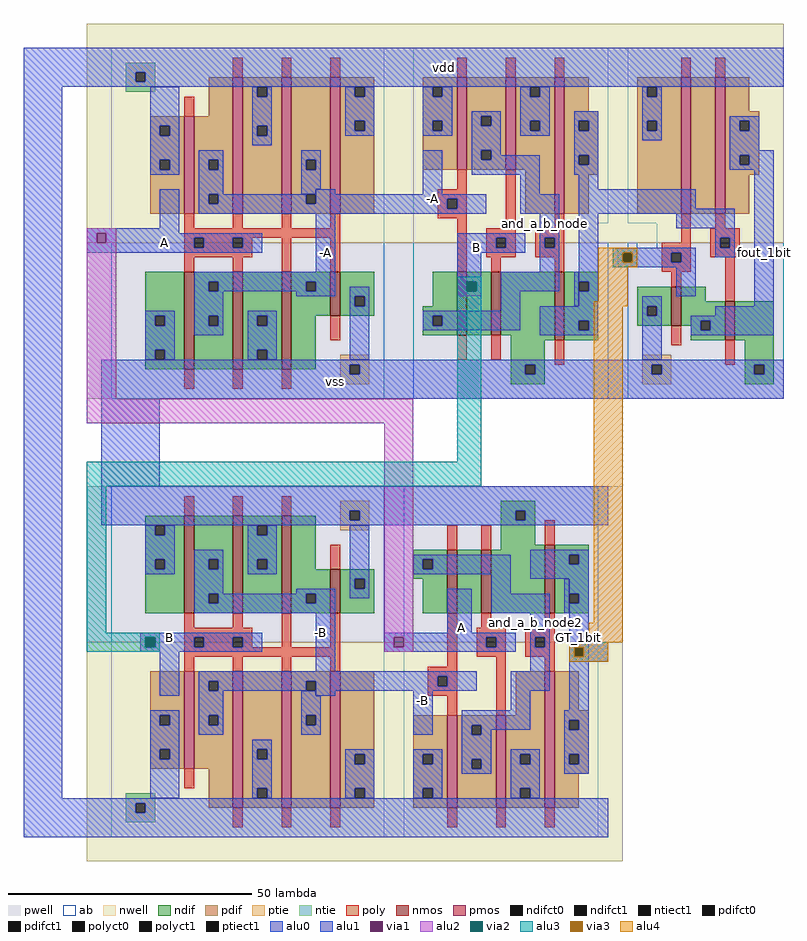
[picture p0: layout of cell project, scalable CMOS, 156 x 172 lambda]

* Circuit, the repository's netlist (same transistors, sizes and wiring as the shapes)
* SPICE3 file created from project.ext - technology: scmos

.model pmos pmos level=3
.model nmos nmos level=3
.option scale=0.055u

M1000 vdd B -B vdd pmos w=28 l=2
+  ad=2050 pd=714 as=424 ps=144
M1001 -A A vdd vdd pmos w=28 l=2
+  ad=424 pd=144 as=0 ps=0
M1002 LT_1bit and_a_b_node vss vss nmos w=14 l=2
+  ad=98 pd=42 as=1370 ps=504
M1003 -A A vss vss nmos w=20 l=2
+  ad=287 pd=112 as=0 ps=0
M1004 vss A -A vss nmos w=9 l=2
+  ad=0 pd=0 as=0 ps=0
M1005 GT_1bit and_a_b_node2 vss vss nmos w=14 l=2
+  ad=98 pd=42 as=0 ps=0
M1006 GT_1bit and_a_b_node2 vdd vdd pmos w=28 l=2
+  ad=166 pd=70 as=0 ps=0
M1007 vdd A -A vdd pmos w=28 l=2
+  ad=0 pd=0 as=0 ps=0
M1008 -B B vdd vdd pmos w=20 l=2
+  ad=0 pd=0 as=0 ps=0
M1009 vdd A and_a_b_node2 vdd pmos w=19 l=2
+  ad=0 pd=0 as=152 ps=54
M1010 vss A -A vss nmos w=20 l=2
+  ad=0 pd=0 as=0 ps=0
M1011 a_15_n21# -B and_a_b_node2 vss nmos w=13 l=2
+  ad=65 pd=36 as=77 ps=40
M1012 vss A a_15_n21# vss nmos w=13 l=2
+  ad=0 pd=0 as=0 ps=0
M1013 and_a_b_node -A vdd vdd pmos w=19 l=2
+  ad=152 pd=54 as=0 ps=0
M1014 -B B vss vss nmos w=20 l=2
+  ad=287 pd=112 as=0 ps=0
M1015 and_a_b_node2 -B vdd vdd pmos w=19 l=2
+  ad=0 pd=0 as=0 ps=0
M1016 a_17_36# -A and_a_b_node vss nmos w=13 l=2
+  ad=65 pd=36 as=77 ps=40
M1017 -A A vdd vdd pmos w=20 l=2
+  ad=0 pd=0 as=0 ps=0
M1018 vss LT_1bit fout_1bit vss nmos w=8 l=2
+  ad=0 pd=0 as=81 ps=40
M1019 vss B -B vss nmos w=20 l=2
+  ad=0 pd=0 as=0 ps=0
M1020 vss B a_17_36# vss nmos w=13 l=2
+  ad=0 pd=0 as=0 ps=0
M1021 fout_1bit GT_1bit vss vss nmos w=8 l=2
+  ad=0 pd=0 as=0 ps=0
M1022 -A A vss vss nmos w=20 l=2
+  ad=0 pd=0 as=0 ps=0
M1023 vdd B -B vdd pmos w=28 l=2
+  ad=0 pd=0 as=0 ps=0
M1024 vdd A -A vdd pmos w=28 l=2
+  ad=0 pd=0 as=0 ps=0
M1025 -B B vss vss nmos w=20 l=2
+  ad=0 pd=0 as=0 ps=0
M1026 vdd B and_a_b_node vdd pmos w=19 l=2
+  ad=0 pd=0 as=0 ps=0
M1027 a_63_61# GT_1bit vdd vdd pmos w=28 l=2
+  ad=140 pd=66 as=0 ps=0
M1028 LT_1bit and_a_b_node vdd vdd pmos w=28 l=2
+  ad=166 pd=70 as=0 ps=0
M1029 fout_1bit LT_1bit a_63_61# vdd pmos w=28 l=2
+  ad=166 pd=70 as=0 ps=0
M1030 vss B -B vss nmos w=9 l=2
+  ad=0 pd=0 as=0 ps=0
M1031 -B B vdd vdd pmos w=28 l=2
+  ad=0 pd=0 as=0 ps=0

V_DD vdd vss 5
V_A A vss pulse(0 5 0.1n 0.1n 0.1n 2n 4n )
V_B B vss pulse(0 5 0.1n 0.1n 0.1n 4n 8n)

.control
tran 1n 16n
run
setplot tran1
plot A B fout_1bit+10 LT_1bit+20 GT_1bit+30
.endc
.end

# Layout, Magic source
magic
tech scmos
<< ab >>
rect -56 23 0 95
rect 6 59 46 95
rect 50 59 82 95
rect 6 55 44 59
rect 6 23 46 55
rect 50 54 52 55
rect 56 54 82 59
rect 50 23 82 54
rect -56 -67 0 5
rect 4 -67 44 5
<< nwell >>
rect -61 55 82 100
rect -61 -72 49 -27
<< pwell >>
rect -61 23 82 55
rect -61 -27 49 5
<< poly >>
rect -31 89 -29 93
rect -21 89 -19 93
rect -11 89 -9 93
rect 15 89 17 93
rect 25 89 27 93
rect 35 89 37 93
rect 61 89 63 93
rect 68 89 70 93
rect -41 81 -39 85
rect 15 66 17 70
rect 11 64 17 66
rect 11 62 13 64
rect 15 62 17 64
rect -41 58 -39 61
rect -31 58 -29 61
rect -21 58 -19 61
rect -11 58 -9 61
rect 11 60 17 62
rect -41 56 -9 58
rect -41 54 -39 56
rect -37 54 -31 56
rect -29 54 -27 56
rect -41 52 -27 54
rect -41 49 -39 52
rect -31 49 -29 52
rect -21 49 -19 56
rect -11 49 -9 56
rect 15 49 17 60
rect 25 58 27 70
rect 35 58 37 61
rect 21 56 27 58
rect 21 54 23 56
rect 25 54 27 56
rect 21 52 27 54
rect 31 56 37 58
rect 31 54 33 56
rect 35 54 37 56
rect 61 55 63 61
rect 68 58 70 61
rect 31 52 37 54
rect 22 49 24 52
rect 35 49 37 52
rect 57 53 63 55
rect 57 51 59 53
rect 61 51 63 53
rect 67 56 73 58
rect 67 54 69 56
rect 71 54 73 56
rect 67 52 73 54
rect 57 49 63 51
rect -11 35 -9 40
rect 15 31 17 36
rect 22 31 24 36
rect 59 46 61 49
rect 70 43 72 52
rect -41 25 -39 29
rect -31 25 -29 29
rect -21 25 -19 29
rect 35 30 37 35
rect 59 34 61 38
rect 70 30 72 35
rect -41 -1 -39 3
rect -31 -1 -29 3
rect -21 -1 -19 3
rect -11 -12 -9 -7
rect 13 -8 15 -3
rect 20 -8 22 -3
rect 33 -7 35 -2
rect -41 -24 -39 -21
rect -31 -24 -29 -21
rect -41 -26 -27 -24
rect -41 -28 -39 -26
rect -37 -28 -31 -26
rect -29 -28 -27 -26
rect -21 -28 -19 -21
rect -11 -28 -9 -21
rect -41 -30 -9 -28
rect -41 -33 -39 -30
rect -31 -33 -29 -30
rect -21 -33 -19 -30
rect -11 -33 -9 -30
rect 13 -32 15 -21
rect 20 -24 22 -21
rect 33 -24 35 -21
rect 19 -26 25 -24
rect 19 -28 21 -26
rect 23 -28 25 -26
rect 19 -30 25 -28
rect 29 -26 35 -24
rect 29 -28 31 -26
rect 33 -28 35 -26
rect 29 -30 35 -28
rect -41 -57 -39 -53
rect 9 -34 15 -32
rect 9 -36 11 -34
rect 13 -36 15 -34
rect 9 -38 15 -36
rect 13 -42 15 -38
rect 23 -42 25 -30
rect 33 -33 35 -30
rect -31 -65 -29 -61
rect -21 -65 -19 -61
rect -11 -65 -9 -61
rect 13 -65 15 -61
rect 23 -65 25 -61
rect 33 -65 35 -61
<< ndif >>
rect -49 40 -41 49
rect -49 38 -47 40
rect -45 38 -41 40
rect -49 33 -41 38
rect -49 31 -47 33
rect -45 31 -41 33
rect -49 29 -41 31
rect -39 47 -31 49
rect -39 45 -36 47
rect -34 45 -31 47
rect -39 40 -31 45
rect -39 38 -36 40
rect -34 38 -31 40
rect -39 29 -31 38
rect -29 40 -21 49
rect -29 38 -26 40
rect -24 38 -21 40
rect -29 33 -21 38
rect -29 31 -26 33
rect -24 31 -21 33
rect -29 29 -21 31
rect -19 47 -11 49
rect -19 45 -16 47
rect -14 45 -11 47
rect -19 40 -11 45
rect -9 44 -2 49
rect -9 42 -6 44
rect -4 42 -2 44
rect 10 42 15 49
rect -9 40 -2 42
rect 8 40 15 42
rect -19 29 -14 40
rect 8 38 10 40
rect 12 38 15 40
rect 8 36 15 38
rect 17 36 22 49
rect 24 36 35 49
rect 26 35 35 36
rect 37 47 44 49
rect 37 45 40 47
rect 42 45 44 47
rect 37 39 44 45
rect 37 37 40 39
rect 42 37 44 39
rect 52 42 59 46
rect 52 40 54 42
rect 56 40 59 42
rect 52 38 59 40
rect 61 43 66 46
rect 61 39 70 43
rect 61 38 65 39
rect 37 35 44 37
rect 26 30 33 35
rect 63 37 65 38
rect 67 37 70 39
rect 63 35 70 37
rect 72 35 80 43
rect 74 30 80 35
rect 26 28 29 30
rect 31 28 33 30
rect 26 26 33 28
rect 74 28 76 30
rect 78 28 80 30
rect 74 26 80 28
rect -49 -3 -41 -1
rect -49 -5 -47 -3
rect -45 -5 -41 -3
rect -49 -10 -41 -5
rect -49 -12 -47 -10
rect -45 -12 -41 -10
rect -49 -21 -41 -12
rect -39 -10 -31 -1
rect -39 -12 -36 -10
rect -34 -12 -31 -10
rect -39 -17 -31 -12
rect -39 -19 -36 -17
rect -34 -19 -31 -17
rect -39 -21 -31 -19
rect -29 -3 -21 -1
rect -29 -5 -26 -3
rect -24 -5 -21 -3
rect -29 -10 -21 -5
rect -29 -12 -26 -10
rect -24 -12 -21 -10
rect -29 -21 -21 -12
rect -19 -12 -14 -1
rect 24 0 31 2
rect 24 -2 27 0
rect 29 -2 31 0
rect 24 -7 31 -2
rect 24 -8 33 -7
rect 6 -10 13 -8
rect 6 -12 8 -10
rect 10 -12 13 -10
rect -19 -17 -11 -12
rect -19 -19 -16 -17
rect -14 -19 -11 -17
rect -19 -21 -11 -19
rect -9 -14 -2 -12
rect 6 -14 13 -12
rect -9 -16 -6 -14
rect -4 -16 -2 -14
rect -9 -21 -2 -16
rect 8 -21 13 -14
rect 15 -21 20 -8
rect 22 -21 33 -8
rect 35 -9 42 -7
rect 35 -11 38 -9
rect 40 -11 42 -9
rect 35 -17 42 -11
rect 35 -19 38 -17
rect 40 -19 42 -17
rect 35 -21 42 -19
<< pdif >>
rect -36 81 -31 89
rect -48 79 -41 81
rect -48 77 -46 79
rect -44 77 -41 79
rect -48 72 -41 77
rect -48 70 -46 72
rect -44 70 -41 72
rect -48 61 -41 70
rect -39 72 -31 81
rect -39 70 -36 72
rect -34 70 -31 72
rect -39 65 -31 70
rect -39 63 -36 65
rect -34 63 -31 65
rect -39 61 -31 63
rect -29 87 -21 89
rect -29 85 -26 87
rect -24 85 -21 87
rect -29 79 -21 85
rect -29 77 -26 79
rect -24 77 -21 79
rect -29 61 -21 77
rect -19 72 -11 89
rect -19 70 -16 72
rect -14 70 -11 72
rect -19 65 -11 70
rect -19 63 -16 65
rect -14 63 -11 65
rect -19 61 -11 63
rect -9 87 -2 89
rect -9 85 -6 87
rect -4 85 -2 87
rect -9 80 -2 85
rect -9 78 -6 80
rect -4 78 -2 80
rect -9 61 -2 78
rect 8 87 15 89
rect 8 85 10 87
rect 12 85 15 87
rect 8 80 15 85
rect 8 78 10 80
rect 12 78 15 80
rect 8 70 15 78
rect 17 81 25 89
rect 17 79 20 81
rect 22 79 25 81
rect 17 74 25 79
rect 17 72 20 74
rect 22 72 25 74
rect 17 70 25 72
rect 27 87 35 89
rect 27 85 30 87
rect 32 85 35 87
rect 27 80 35 85
rect 27 78 30 80
rect 32 78 35 80
rect 27 70 35 78
rect 29 61 35 70
rect 37 82 42 89
rect 52 87 61 89
rect 52 85 54 87
rect 56 85 61 87
rect 37 80 44 82
rect 37 78 40 80
rect 42 78 44 80
rect 37 73 44 78
rect 37 71 40 73
rect 42 71 44 73
rect 37 69 44 71
rect 52 80 61 85
rect 52 78 54 80
rect 56 78 61 80
rect 37 61 42 69
rect 52 61 61 78
rect 63 61 68 89
rect 70 82 75 89
rect 70 80 77 82
rect 70 78 73 80
rect 75 78 77 80
rect 70 73 77 78
rect 70 71 73 73
rect 75 71 77 73
rect 70 69 77 71
rect 70 61 75 69
rect -48 -42 -41 -33
rect -48 -44 -46 -42
rect -44 -44 -41 -42
rect -48 -49 -41 -44
rect -48 -51 -46 -49
rect -44 -51 -41 -49
rect -48 -53 -41 -51
rect -39 -35 -31 -33
rect -39 -37 -36 -35
rect -34 -37 -31 -35
rect -39 -42 -31 -37
rect -39 -44 -36 -42
rect -34 -44 -31 -42
rect -39 -53 -31 -44
rect -36 -61 -31 -53
rect -29 -49 -21 -33
rect -29 -51 -26 -49
rect -24 -51 -21 -49
rect -29 -57 -21 -51
rect -29 -59 -26 -57
rect -24 -59 -21 -57
rect -29 -61 -21 -59
rect -19 -35 -11 -33
rect -19 -37 -16 -35
rect -14 -37 -11 -35
rect -19 -42 -11 -37
rect -19 -44 -16 -42
rect -14 -44 -11 -42
rect -19 -61 -11 -44
rect -9 -50 -2 -33
rect 27 -42 33 -33
rect -9 -52 -6 -50
rect -4 -52 -2 -50
rect -9 -57 -2 -52
rect -9 -59 -6 -57
rect -4 -59 -2 -57
rect -9 -61 -2 -59
rect 6 -50 13 -42
rect 6 -52 8 -50
rect 10 -52 13 -50
rect 6 -57 13 -52
rect 6 -59 8 -57
rect 10 -59 13 -57
rect 6 -61 13 -59
rect 15 -44 23 -42
rect 15 -46 18 -44
rect 20 -46 23 -44
rect 15 -51 23 -46
rect 15 -53 18 -51
rect 20 -53 23 -51
rect 15 -61 23 -53
rect 25 -50 33 -42
rect 25 -52 28 -50
rect 30 -52 33 -50
rect 25 -57 33 -52
rect 25 -59 28 -57
rect 30 -59 33 -57
rect 25 -61 33 -59
rect 35 -41 40 -33
rect 35 -43 42 -41
rect 35 -45 38 -43
rect 40 -45 42 -43
rect 35 -50 42 -45
rect 35 -52 38 -50
rect 40 -52 42 -50
rect 35 -54 42 -52
rect 35 -61 40 -54
<< alu1 >>
rect -74 90 82 95
rect -74 88 -51 90
rect -49 88 82 90
rect -74 87 82 88
rect -74 -59 -66 87
rect 39 80 44 82
rect 39 78 40 80
rect 42 78 44 80
rect -38 72 -33 74
rect -38 70 -36 72
rect -34 70 -33 72
rect -46 58 -42 66
rect -38 65 -33 70
rect -14 65 -10 66
rect 8 65 12 74
rect 39 73 44 78
rect 71 80 77 81
rect 71 78 73 80
rect 75 78 77 80
rect 39 71 40 73
rect 42 71 44 73
rect 39 69 44 71
rect 71 74 77 78
rect 71 73 80 74
rect 71 71 73 73
rect 75 71 80 73
rect 71 70 80 71
rect 40 66 44 69
rect -38 63 -36 65
rect -34 63 -16 65
rect -14 64 21 65
rect -14 63 13 64
rect -38 62 13 63
rect 15 62 21 64
rect -38 61 21 62
rect -61 57 -42 58
rect -61 55 -59 57
rect -57 56 -25 57
rect -57 55 -39 56
rect -61 54 -39 55
rect -37 54 -31 56
rect -29 54 -25 56
rect -61 53 -25 54
rect -14 49 -10 61
rect -39 47 -10 49
rect -39 45 -36 47
rect -34 45 -16 47
rect -14 45 -10 47
rect 15 56 29 57
rect 15 54 23 56
rect 25 54 29 56
rect 15 53 29 54
rect 15 47 20 53
rect 40 62 64 66
rect 40 61 72 62
rect -39 40 -33 45
rect -18 44 -10 45
rect 15 45 17 47
rect 19 45 20 47
rect 15 44 20 45
rect -39 38 -36 40
rect -34 38 -33 40
rect -39 36 -33 38
rect 40 47 44 61
rect 60 58 72 61
rect 68 56 72 58
rect 68 54 69 56
rect 71 54 72 56
rect 48 53 64 54
rect 48 51 49 53
rect 51 51 59 53
rect 61 51 64 53
rect 68 52 72 54
rect 48 50 64 51
rect 42 45 44 47
rect 40 42 44 45
rect 60 44 64 50
rect 32 39 44 42
rect 32 37 40 39
rect 42 37 44 39
rect 32 36 44 37
rect 76 42 80 70
rect 68 40 80 42
rect 63 39 80 40
rect 63 37 65 39
rect 67 37 80 39
rect 63 36 80 37
rect -58 30 82 31
rect -58 28 -7 30
rect -5 28 29 30
rect 31 28 55 30
rect 57 28 76 30
rect 78 28 82 30
rect -58 23 82 28
rect -58 5 -46 23
rect -58 0 46 5
rect -58 -2 -7 0
rect -5 -2 27 0
rect 29 -2 46 0
rect -58 -3 46 -2
rect -39 -10 -33 -8
rect -39 -12 -36 -10
rect -34 -12 -33 -10
rect -39 -17 -33 -12
rect 30 -9 42 -8
rect -18 -17 -10 -16
rect -39 -19 -36 -17
rect -34 -19 -16 -17
rect -14 -19 -10 -17
rect -39 -21 -10 -19
rect -50 -26 -25 -25
rect -50 -28 -49 -26
rect -47 -28 -39 -26
rect -37 -28 -31 -26
rect -29 -28 -25 -26
rect -50 -29 -25 -28
rect -46 -38 -42 -29
rect -14 -33 -10 -21
rect 13 -25 18 -16
rect 30 -11 38 -9
rect 40 -11 42 -9
rect 30 -14 42 -11
rect 38 -17 42 -14
rect 40 -19 42 -17
rect 0 -26 27 -25
rect 0 -28 2 -26
rect 4 -28 21 -26
rect 23 -28 27 -26
rect 0 -29 27 -28
rect -38 -34 19 -33
rect -38 -35 11 -34
rect -38 -37 -36 -35
rect -34 -37 -16 -35
rect -14 -36 11 -35
rect 13 -36 19 -34
rect -14 -37 19 -36
rect 38 -28 42 -19
rect 38 -30 39 -28
rect 41 -30 42 -28
rect -38 -42 -33 -37
rect -38 -44 -36 -42
rect -34 -44 -33 -42
rect -38 -46 -33 -44
rect -14 -38 -10 -37
rect 6 -46 10 -37
rect 38 -41 42 -30
rect 37 -43 42 -41
rect 37 -45 38 -43
rect 40 -45 42 -43
rect 37 -50 42 -45
rect 37 -52 38 -50
rect 40 -52 42 -50
rect 37 -54 42 -52
rect -74 -60 46 -59
rect -74 -62 -51 -60
rect -49 -62 46 -60
rect -74 -67 46 -62
<< alu2 >>
rect -61 57 -55 58
rect -61 55 -59 57
rect -57 55 -55 57
rect -61 23 -55 55
rect 47 53 52 54
rect 47 51 49 53
rect 51 51 52 53
rect 47 50 52 51
rect 15 47 20 48
rect 15 45 17 47
rect 19 45 20 47
rect 15 44 20 45
rect -61 18 6 23
rect -50 -26 -46 -25
rect -50 -28 -49 -26
rect -47 -28 -46 -26
rect -50 -29 -46 -28
rect 0 -26 6 18
rect 0 -28 2 -26
rect 4 -28 6 -26
rect 0 -29 6 -28
rect 38 -28 46 -27
rect 38 -30 39 -28
rect 41 -30 46 -28
rect 38 -31 46 -30
<< alu3 >>
rect 47 53 52 54
rect 47 51 49 53
rect 51 51 52 53
rect 47 50 52 51
rect 15 47 20 48
rect 15 45 17 47
rect 19 45 20 47
rect 15 10 20 45
rect -61 5 20 10
rect -61 -25 -57 5
rect -61 -26 -46 -25
rect -61 -28 -49 -26
rect -47 -28 -46 -26
rect -61 -29 -46 -28
rect 38 -28 46 -27
rect 38 -30 39 -28
rect 41 -30 46 -28
rect 38 -31 46 -30
<< alu4 >>
rect 44 53 52 54
rect 44 51 49 53
rect 51 51 52 53
rect 44 50 52 51
rect 44 43 50 50
rect 43 42 50 43
rect 43 -23 49 42
rect 42 -27 49 -23
rect 38 -28 46 -27
rect 38 -30 39 -28
rect 41 -30 46 -28
rect 38 -31 46 -30
<< ptie >>
rect -9 30 -3 32
rect -9 28 -7 30
rect -5 28 -3 30
rect -9 26 -3 28
rect 53 30 59 32
rect 53 28 55 30
rect 57 28 59 30
rect 53 26 59 28
rect -9 0 -3 2
rect -9 -2 -7 0
rect -5 -2 -3 0
rect -9 -4 -3 -2
<< ntie >>
rect -53 90 -47 92
rect -53 88 -51 90
rect -49 88 -47 90
rect -53 86 -47 88
rect -53 -60 -47 -58
rect -53 -62 -51 -60
rect -49 -62 -47 -60
rect -53 -64 -47 -62
<< nmos >>
rect -41 29 -39 49
rect -31 29 -29 49
rect -21 29 -19 49
rect -11 40 -9 49
rect 15 36 17 49
rect 22 36 24 49
rect 35 35 37 49
rect 59 38 61 46
rect 70 35 72 43
rect -41 -21 -39 -1
rect -31 -21 -29 -1
rect -21 -21 -19 -1
rect -11 -21 -9 -12
rect 13 -21 15 -8
rect 20 -21 22 -8
rect 33 -21 35 -7
<< pmos >>
rect -41 61 -39 81
rect -31 61 -29 89
rect -21 61 -19 89
rect -11 61 -9 89
rect 15 70 17 89
rect 25 70 27 89
rect 35 61 37 89
rect 61 61 63 89
rect 68 61 70 89
rect -41 -53 -39 -33
rect -31 -61 -29 -33
rect -21 -61 -19 -33
rect -11 -61 -9 -33
rect 13 -61 15 -42
rect 23 -61 25 -42
rect 33 -61 35 -33
<< polyct0 >>
rect 33 54 35 56
rect 31 -28 33 -26
<< polyct1 >>
rect 13 62 15 64
rect -39 54 -37 56
rect -31 54 -29 56
rect 23 54 25 56
rect 59 51 61 53
rect 69 54 71 56
rect -39 -28 -37 -26
rect -31 -28 -29 -26
rect 21 -28 23 -26
rect 11 -36 13 -34
<< ndifct0 >>
rect -47 38 -45 40
rect -47 31 -45 33
rect -26 38 -24 40
rect -26 31 -24 33
rect -6 42 -4 44
rect 10 38 12 40
rect 54 40 56 42
rect -47 -5 -45 -3
rect -47 -12 -45 -10
rect -26 -5 -24 -3
rect -26 -12 -24 -10
rect 8 -12 10 -10
rect -6 -16 -4 -14
<< ndifct1 >>
rect -36 45 -34 47
rect -36 38 -34 40
rect -16 45 -14 47
rect 40 45 42 47
rect 40 37 42 39
rect 65 37 67 39
rect 29 28 31 30
rect 76 28 78 30
rect -36 -12 -34 -10
rect -36 -19 -34 -17
rect 27 -2 29 0
rect -16 -19 -14 -17
rect 38 -11 40 -9
rect 38 -19 40 -17
<< ntiect1 >>
rect -51 88 -49 90
rect -51 -62 -49 -60
<< ptiect1 >>
rect -7 28 -5 30
rect 55 28 57 30
rect -7 -2 -5 0
<< pdifct0 >>
rect -46 77 -44 79
rect -46 70 -44 72
rect -26 85 -24 87
rect -26 77 -24 79
rect -16 70 -14 72
rect -6 85 -4 87
rect -6 78 -4 80
rect 10 85 12 87
rect 10 78 12 80
rect 20 79 22 81
rect 20 72 22 74
rect 30 85 32 87
rect 30 78 32 80
rect 54 85 56 87
rect 54 78 56 80
rect -46 -44 -44 -42
rect -46 -51 -44 -49
rect -26 -51 -24 -49
rect -26 -59 -24 -57
rect -16 -44 -14 -42
rect -6 -52 -4 -50
rect -6 -59 -4 -57
rect 8 -52 10 -50
rect 8 -59 10 -57
rect 18 -46 20 -44
rect 18 -53 20 -51
rect 28 -52 30 -50
rect 28 -59 30 -57
<< pdifct1 >>
rect -36 70 -34 72
rect -36 63 -34 65
rect -16 63 -14 65
rect 40 78 42 80
rect 40 71 42 73
rect 73 78 75 80
rect 73 71 75 73
rect -36 -37 -34 -35
rect -36 -44 -34 -42
rect -16 -37 -14 -35
rect 38 -45 40 -43
rect 38 -52 40 -50
<< alu0 >>
rect -48 79 -42 87
rect -48 77 -46 79
rect -44 77 -42 79
rect -48 72 -42 77
rect -27 85 -26 87
rect -24 85 -23 87
rect -27 79 -23 85
rect -27 77 -26 79
rect -24 77 -23 79
rect -8 85 -6 87
rect -4 85 -2 87
rect -8 80 -2 85
rect -8 78 -6 80
rect -4 78 -2 80
rect -8 77 -2 78
rect 8 85 10 87
rect 12 85 14 87
rect 8 80 14 85
rect 28 85 30 87
rect 32 85 34 87
rect 8 78 10 80
rect 12 78 14 80
rect 8 77 14 78
rect 18 81 24 82
rect 18 79 20 81
rect 22 79 24 81
rect -27 75 -23 77
rect 18 74 24 79
rect 28 80 34 85
rect 53 85 54 87
rect 56 85 57 87
rect 28 78 30 80
rect 32 78 34 80
rect 28 77 34 78
rect -48 70 -46 72
rect -44 70 -42 72
rect -48 69 -42 70
rect -17 72 -13 74
rect -17 70 -16 72
rect -14 70 -13 72
rect -17 66 -13 70
rect -17 65 -14 66
rect 18 72 20 74
rect 22 73 24 74
rect 53 80 57 85
rect 53 78 54 80
rect 56 78 57 80
rect 53 76 57 78
rect 22 72 32 73
rect 18 69 32 72
rect 28 65 32 69
rect 28 61 36 65
rect 32 56 36 61
rect 32 54 33 56
rect 35 54 36 56
rect 32 49 36 54
rect -49 40 -43 41
rect -49 38 -47 40
rect -45 38 -43 40
rect -49 33 -43 38
rect -7 44 -3 46
rect 24 45 36 49
rect -7 42 -6 44
rect -4 42 -3 44
rect -28 40 -22 41
rect -28 38 -26 40
rect -24 38 -22 40
rect -49 31 -47 33
rect -45 31 -43 33
rect -28 33 -22 38
rect -28 31 -26 33
rect -24 31 -22 33
rect -7 31 -3 42
rect 24 41 28 45
rect 39 42 40 49
rect 8 40 28 41
rect 8 38 10 40
rect 12 38 28 40
rect 8 37 28 38
rect 53 42 57 44
rect 53 40 54 42
rect 56 40 57 42
rect 53 31 57 40
rect -49 -5 -47 -3
rect -45 -5 -43 -3
rect -49 -10 -43 -5
rect -28 -5 -26 -3
rect -24 -5 -22 -3
rect -49 -12 -47 -10
rect -45 -12 -43 -10
rect -49 -13 -43 -12
rect -28 -10 -22 -5
rect -28 -12 -26 -10
rect -24 -12 -22 -10
rect -28 -13 -22 -12
rect -7 -14 -3 -3
rect 6 -10 26 -9
rect 6 -12 8 -10
rect 10 -12 26 -10
rect 6 -13 26 -12
rect -7 -16 -6 -14
rect -4 -16 -3 -14
rect -7 -18 -3 -16
rect 22 -17 26 -13
rect 22 -21 34 -17
rect 37 -21 38 -14
rect 30 -26 34 -21
rect 30 -28 31 -26
rect 33 -28 34 -26
rect 30 -33 34 -28
rect 26 -37 34 -33
rect -48 -42 -42 -41
rect -48 -44 -46 -42
rect -44 -44 -42 -42
rect -48 -49 -42 -44
rect -17 -38 -14 -37
rect -17 -42 -13 -38
rect -17 -44 -16 -42
rect -14 -44 -13 -42
rect -17 -46 -13 -44
rect 26 -41 30 -37
rect 16 -44 30 -41
rect 16 -46 18 -44
rect 20 -45 30 -44
rect 20 -46 22 -45
rect -48 -51 -46 -49
rect -44 -51 -42 -49
rect -48 -59 -42 -51
rect -27 -49 -23 -47
rect -27 -51 -26 -49
rect -24 -51 -23 -49
rect -27 -57 -23 -51
rect -27 -59 -26 -57
rect -24 -59 -23 -57
rect -8 -50 -2 -49
rect -8 -52 -6 -50
rect -4 -52 -2 -50
rect -8 -57 -2 -52
rect -8 -59 -6 -57
rect -4 -59 -2 -57
rect 6 -50 12 -49
rect 6 -52 8 -50
rect 10 -52 12 -50
rect 6 -57 12 -52
rect 16 -51 22 -46
rect 16 -53 18 -51
rect 20 -53 22 -51
rect 16 -54 22 -53
rect 26 -50 32 -49
rect 26 -52 28 -50
rect 30 -52 32 -50
rect 6 -59 8 -57
rect 10 -59 12 -57
rect 26 -57 32 -52
rect 26 -59 28 -57
rect 30 -59 32 -57
<< via1 >>
rect -59 55 -57 57
rect 17 45 19 47
rect 49 51 51 53
rect -49 -28 -47 -26
rect 2 -28 4 -26
rect 39 -30 41 -28
<< via2 >>
rect 49 51 51 53
rect 17 45 19 47
rect -49 -28 -47 -26
rect 39 -30 41 -28
<< via3 >>
rect 49 51 51 53
rect 39 -30 41 -28
<< labels >>
rlabel alu1 -45 55 -45 55 1 A
rlabel alu1 -12 53 -12 53 1 -A
rlabel alu1 10 64 10 64 1 -A
rlabel alu1 19 54 19 54 1 B
rlabel alu0 33 59 33 59 1 and_a_b_node
rlabel alu1 -44 -26 -44 -26 1 B
rlabel alu1 -13 -25 -13 -25 1 -B
rlabel alu1 8 -39 8 -39 1 -B
rlabel alu1 16 -24 16 -24 1 A
rlabel alu0 31 -23 31 -23 1 and_a_b_node2
rlabel alu1 78 53 78 53 3 fout_1bit
rlabel alu1 40 -26 40 -26 1 GT_1bit
rlabel alu1 40 56 44 60 1 LT_1bit
rlabel nwell -57 87 82 95 1 vdd
rlabel alu1 -10 26 -10 27 1 vss
<< end >>
